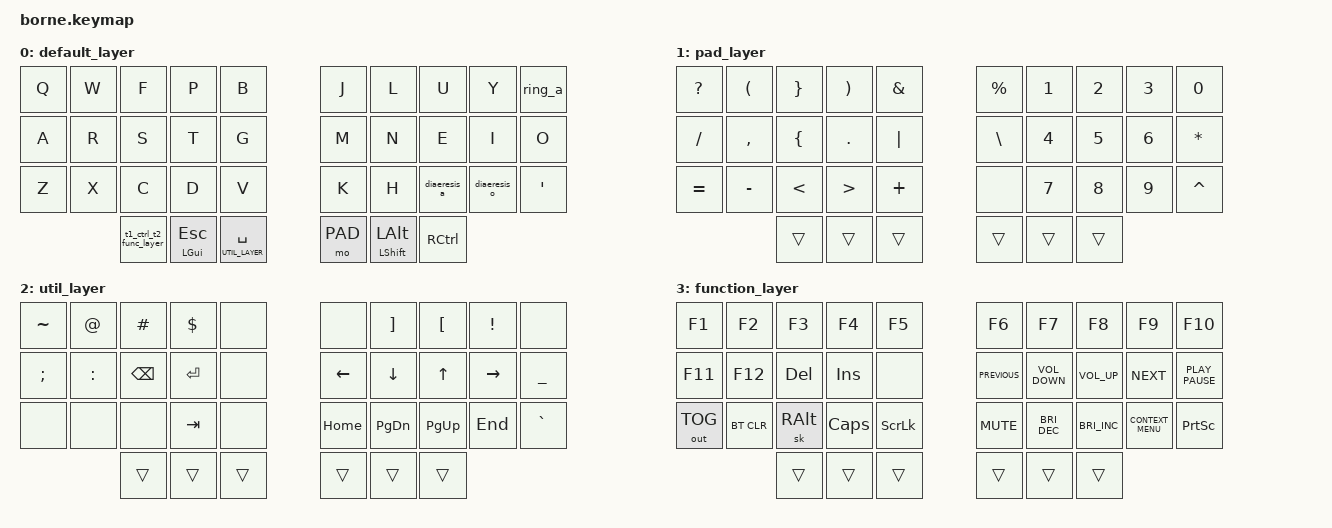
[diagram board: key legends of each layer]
/*
 * Copyright (c) 2022 Gabriel Hansson
 *
 * SPDX-License-Identifier: MIT
 */

#include <behaviors.dtsi>
#include <dt-bindings/zmk/keys.h>
#include <dt-bindings/zmk/bt.h>
#include <dt-bindings/zmk/outputs.h>

// Number is the order in which the layer nodes appear
#define DEFAULT 0
#define PAD 1
#define UTIL_LAYER 2
#define FUNCTION 3

&sk {
    quick-release;
};

&lt {
	flavor = "hold-preferred";
};

/ {

	//IMPROVEMENT: move these into a separate compose key folder
	macros {
		// ö = U+00D6
		diaeresis_o: diaeresis_o {
			label = "diaeresis_o";
			compatible = "zmk,behavior-macro";
			// Default is 100ms 
			// https://zmk.dev/docs/behaviors/macros#tap-time
			tap-ms = <0>;
			#binding-cells = <0>;
			bindings =
				<&macro_tap &kp RA(DOUBLE_QUOTES) &kp O>
			;
		};

		// ä = U+00C4
		diaeresis_a: diaeresis_a {
			label = "diaeresis_a";
			compatible = "zmk,behavior-macro";
			tap-ms = <0>;
			#binding-cells = <0>;
			bindings =
				<&macro_tap &kp RA(DOUBLE_QUOTES) &kp A>
			;
		};

		// å = U+00C5
		ring_a: ring_a {
			label = "ring_a";
			compatible = "zmk,behavior-macro";
			tap-ms = <0>;
			#binding-cells = <0>;
			bindings =
				<&macro_tap &kp RA(ASTERISK) &kp A>
			;
		};
	};

	behaviors {
		t1_ctrl_t2_func_layer: t1_ctrl_t2_func_layer {
			compatible = "zmk,behavior-tap-dance";
			label = "T1_CTRL_T2_FUNC_LAYER";
			#binding-cells = <0>;
			tapping-term-ms = <200>;
			bindings = <&kp LEFT_CONTROL>, <&mo FUNCTION>;
		};

		mod_sticky_tap: mod_sticky_tap {
			compatible = "zmk,behavior-hold-tap";
			label = "MOD_STICKY_TAP";
			#binding-cells = <2>;
			tapping-term-ms = <200>;
			bindings = <&kp>, <&sk>;
		};
	};

	keymap {
		compatible = "zmk,keymap";

		// Colemak-DH layout
		default_layer {
			bindings = <
				&kp Q &kp W &kp F &kp P &kp B &kp J &kp L &kp U &kp Y &ring_a
				&kp A &kp R &kp S &kp T &kp G &kp M &kp N &kp E &kp I &kp O
				&kp Z &kp X &kp C &kp D &kp V &kp K &kp H &diaeresis_a &diaeresis_o &kp SINGLE_QUOTE
				&t1_ctrl_t2_func_layer &mt LEFT_GUI ESC &lt UTIL_LAYER SPACE &mo PAD &mod_sticky_tap LSHIFT LALT &kp RIGHT_CONTROL
			>;
		};

		pad_layer {
			bindings = <
				&kp QUESTION &kp LEFT_PARENTHESIS &kp RIGHT_BRACE &kp RIGHT_PARENTHESIS &kp AMPERSAND &kp PERCENT &kp N1 &kp N2 &kp N3 &kp N0
				&kp SLASH &kp COMMA &kp LEFT_BRACE &kp PERIOD &kp PIPE &kp BACKSLASH &kp N4 &kp N5 &kp N6 &kp ASTERISK
				&kp EQUAL &kp MINUS &kp LESS_THAN &kp GREATER_THAN &kp PLUS &none &kp N7 &kp N8 &kp N9 &kp CARET
			&trans &trans &trans &trans &trans &trans
		>;
		};

		util_layer {
			bindings = <
				&kp TILDE &kp AT_SIGN &kp HASH &kp DOLLAR &none &none &kp RIGHT_BRACKET &kp LEFT_BRACKET &kp EXCLAMATION &none 
				&kp SEMICOLON &kp COLON &kp BSPC &kp RET &none &kp LEFT_ARROW &kp DOWN_ARROW &kp UP_ARROW &kp RIGHT_ARROW &kp UNDERSCORE 
				&none &none &none &kp TAB &none &kp HOME &kp PAGE_DOWN &kp PAGE_UP &kp END &kp GRAVE
				&trans &trans &trans &trans &trans &trans
			>;
		};

		function_layer {
			bindings = <
				&kp F1 &kp F2 &kp F3 &kp F4 &kp F5 &kp F6 &kp F7 &kp F8 &kp F9 &kp F10
				&kp F11 &kp F12 &kp DELETE &kp INSERT &none &kp K_PREVIOUS &kp K_VOLUME_DOWN &kp K_VOLUME_UP &kp K_NEXT &kp K_PLAY_PAUSE
				&out OUT_TOG &bt BT_CLR &sk RIGHT_ALT &kp CAPSLOCK &kp SCROLLLOCK &kp K_MUTE &kp C_BRIGHTNESS_DEC &kp C_BRIGHTNESS_INC &kp K_CONTEXT_MENU &kp PRINTSCREEN 
				&trans &trans &trans &trans &trans &trans
			>;
		};
	};
};
